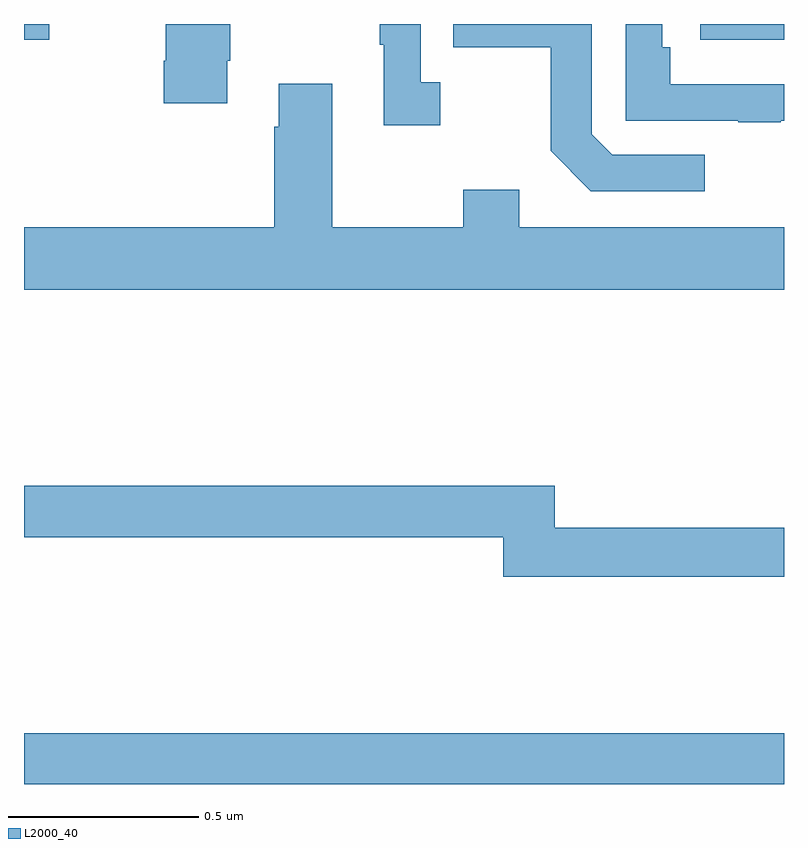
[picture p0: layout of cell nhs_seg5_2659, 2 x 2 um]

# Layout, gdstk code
import gdstk
lib = gdstk.Library(unit=1e-6, precision=1e-09)
def R(c, l, rs):  # rectangles x0, y0, x1, y1
    for r in rs: c.add(gdstk.rectangle(r[:2], r[2:], *l))
def P(c, l, *ps):  # polygons
    for p in ps: c.add(gdstk.Polygon(p, *l))
L2000_40 = (2000, 40)

nhs_seg5_2659 = lib.new_cell('nhs_seg5_2659')
R(nhs_seg5_2659, L2000_40, [(147,848.799,149,848.932), (147,850.757,147.067,850.799), (148.779,850.758,149,850.799)])
P(nhs_seg5_2659, L2000_40, [(148.792,850.455),(148.548,850.455),(148.494,850.509),(148.494,850.799),(148.129,850.799),(148.129,850.738),(148.386,850.738),(148.386,850.465),(148.491,850.359),(148.792,850.359)],
  [(148.096,850.646),(148.044,850.646),(148.044,850.799),(147.936,850.799),(147.936,850.745),(147.947,850.745),(147.947,850.533),(148.096,850.533)],
  [(147.535,850.702),(147.543,850.702),(147.543,850.799),(147.373,850.799),(147.373,850.702),(147.368,850.702),(147.368,850.59),(147.535,850.59)],
  [(148.991,850.545),(149,850.545),(149,850.641),(148.7,850.641),(148.7,850.738),(148.68,850.738),(148.68,850.799),(148.584,850.799),(148.584,850.545),(148.879,850.545),(148.879,850.54),(148.991,850.54)],
  [(149,850.264),(148.303,850.264),(148.303,850.363),(148.156,850.363),(148.156,850.264),(147.811,850.264),(147.811,850.642),(147.671,850.642),(147.671,850.529),(147.659,850.529),(147.659,850.264),(147,850.264),(147,850.1),(149,850.1)],
  [(149,849.473),(148.397,849.473),(148.397,849.584),(147,849.584),(147,849.448),(148.261,849.448),(148.261,849.345),(149,849.345)])

lib.write_gds('nhs_seg5_2659.gds')
